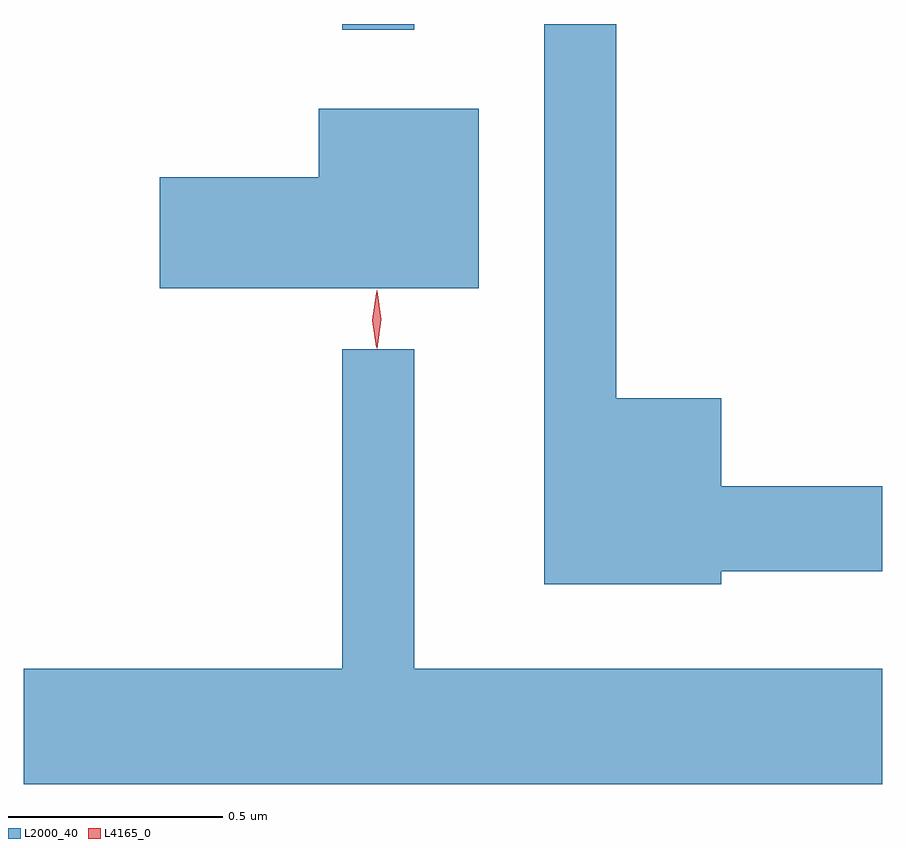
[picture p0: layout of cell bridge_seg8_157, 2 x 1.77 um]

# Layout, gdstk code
import gdstk
lib = gdstk.Library(unit=1e-6, precision=1e-09)
def R(c, l, rs):  # rectangles x0, y0, x1, y1
    for r in rs: c.add(gdstk.rectangle(r[:2], r[2:], *l))
def P(c, l, *ps):  # polygons
    for p in ps: c.add(gdstk.Polygon(p, *l))
L2000_40 = (2000, 40)
L4165_0 = (4165, 0)

bridge_seg8_157 = lib.new_cell('bridge_seg8_157')
R(bridge_seg8_157, L2000_40, [(1265.411,1924.753,1265.579,1924.766)])
P(bridge_seg8_157, L2000_40, [(1266.294,1923.491),(1266.669,1923.491),(1266.669,1923.689),(1266.294,1923.689),(1266.294,1923.894),(1266.049,1923.894),(1266.049,1924.766),(1265.881,1924.766),(1265.881,1923.461),(1266.294,1923.461)],
  [(1265.729,1924.569),(1265.356,1924.569),(1265.356,1924.409),(1264.986,1924.409),(1264.986,1924.151),(1265.729,1924.151)],
  [(1266.669,1923.264),(1265.579,1923.264),(1265.579,1924.008),(1265.411,1924.008),(1265.411,1923.264),(1264.669,1923.264),(1264.669,1922.996),(1266.669,1922.996)])
P(bridge_seg8_157, L4165_0, [(1265.49,1924.013),(1265.481,1924.076),(1265.49,1924.139),(1265.491,1924.14),(1265.492,1924.139),(1265.501,1924.076),(1265.492,1924.013),(1265.491,1924.013)],
  [(1265.492,1924.01),(1265.492,1924.01),(1265.482,1924.078),(1265.491,1924.145),(1265.491,1924.146),(1265.492,1924.145),(1265.502,1924.078),(1265.493,1924.01)])

lib.write_gds('bridge_seg8_157.gds')
